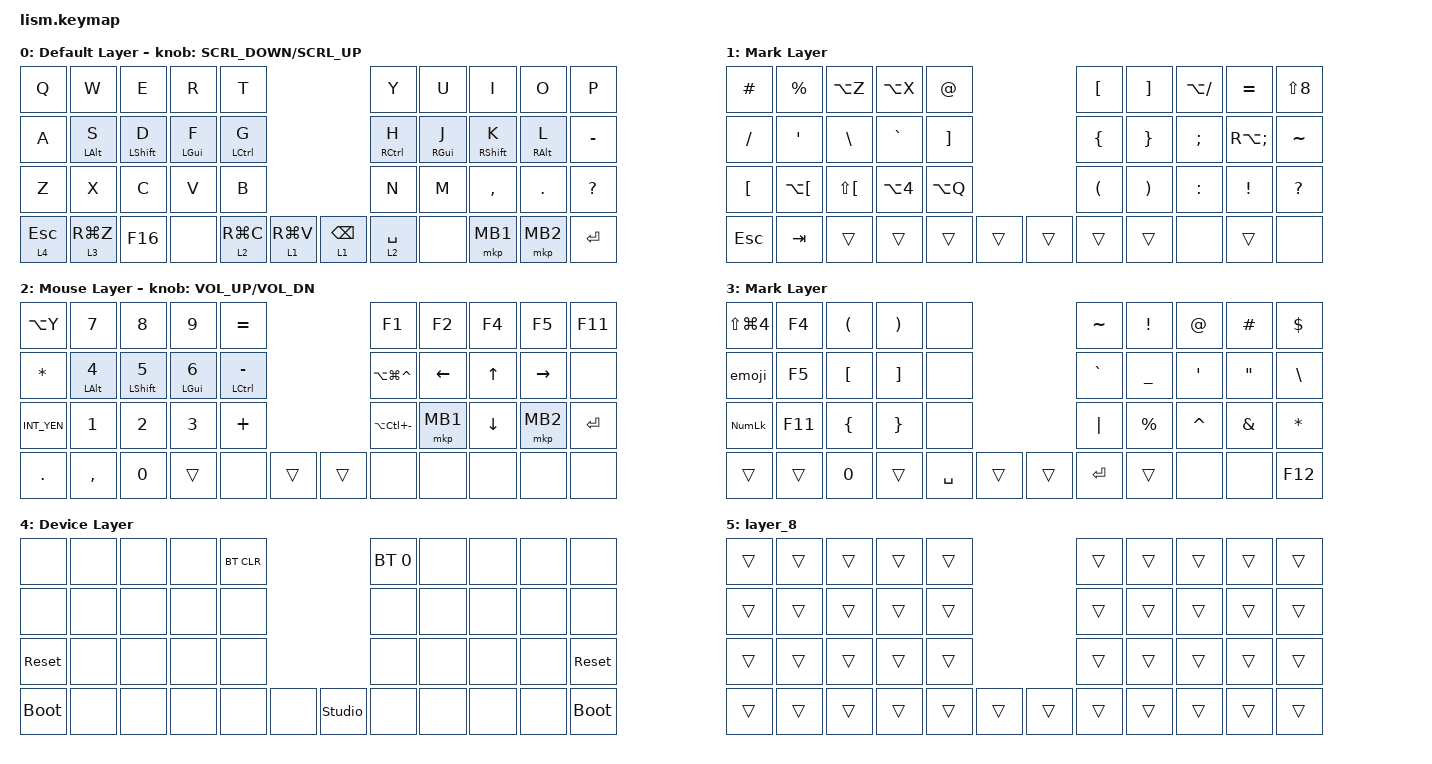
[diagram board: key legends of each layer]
#define ZMK_POINTING_DEFAULT_SCRL_VAL 200

#include <dt-bindings/zmk/mouse.h>
#include <behaviors.dtsi>
#include <dt-bindings/zmk/bt.h>
#include <dt-bindings/zmk/keys.h>
#include <dt-bindings/zmk/pointing.h>

&mt {
    tapping-term-ms = <300>;
    flavor = "balanced";
};

&lt { quick-tap-ms = <300>; };

/ {
    macros {
        emoji: emoji_macro {
            compatible = "zmk,behavior-macro";
            label = "EMOJI";
            #binding-cells = <0>;
            bindings =
                <&macro_press>,
                <&kp CAPSLOCK>,
                <&macro_tap>,
                <&kp E>,
                <&macro_release>,
                <&kp CAPSLOCK>;
        };
    };

    behaviors {
        encoder_msc: sensor_rotate_msc {
            compatible = "zmk,behavior-sensor-rotate-var";
            #sensor-binding-cells = <2>;
            bindings = <&msc>, <&msc>;

            tap-ms = <20>;
        };

        encoder_kp: sensor_rotate_kp {
            compatible = "zmk,behavior-sensor-rotate-var";
            #sensor-binding-cells = <2>;
            bindings = <&kp>, <&kp>;
        };
    };

    keymap {
        compatible = "zmk,keymap";

        default_layer {
            display-name = "Default Layer";
            bindings = <
&kp Q      &kp W        &kp E         &kp R       &kp T                                        &kp Y        &kp U       &kp I         &kp O       &kp P
&kp A      &mt LALT S   &mt LSHIFT D  &mt LGUI F  &mt LCTRL G                                  &mt RCTRL H  &mt RGUI J  &mt RSHIFT K  &mt RALT L  &kp MINUS
&kp Z      &kp X        &kp C         &kp V       &kp B                                        &kp N        &kp M       &kp COMMA     &kp DOT     &kp QUESTION
&lt 4 ESC  &lt 3 RG(Z)  &kp F16       &none       &lt 2 RG(C)  &lt 1 RG(V)    &lt 1 BACKSPACE  &lt 2 SPACE  &none       &mkp MB1      &mkp MB2    &kp ENTER
            >;

            sensor-bindings = <&encoder_msc SCRL_DOWN SCRL_UP>;
        };

        layer_1 {
            display-name = "Mark Layer";
            bindings = <
&kp HASH          &kp PERCENT           &kp LA(Z)             &kp LA(X)         &kp AT                               &kp LEFT_BRACKET  &kp RIGHT_BRACKET  &kp LA(SLASH)  &kp EQUAL        &kp LS(N8)
&kp SLASH         &kp SINGLE_QUOTE      &kp BACKSLASH         &kp GRAVE         &kp RIGHT_BRACKET                    &kp LEFT_BRACE    &kp RIGHT_BRACE    &kp SEMI       &kp RA(SEMI)     &kp TILDE
&kp LEFT_BRACKET  &kp LA(LEFT_BRACKET)  &kp LS(LEFT_BRACKET)  &kp LA(NUMBER_4)  &kp LA(Q)                            &kp LPAR          &kp RPAR           &kp COLON      &kp EXCLAMATION  &kp QUESTION
&kp ESC           &kp TAB               &trans                &trans            &trans             &trans    &trans  &trans            &trans             &none          &trans           &none
            >;
        };

        layer_2 {
            display-name = "Mouse Layer";
            bindings = <
&kp LA(Y)     &kp NUMBER_7       &kp NUMBER_8         &kp NUMBER_9       &kp EQUAL                          &kp F1             &kp F2    &kp F4    &kp F5     &kp F11
&kp ASTERISK  &mt LALT NUMBER_4  &mt LSHIFT NUMBER_5  &mt LGUI NUMBER_6  &mt LCTRL MINUS                    &kp LA(LG(CARET))  &kp LEFT  &kp UP    &kp RIGHT  &none
&kp INT_YEN   &kp NUMBER_1       &kp NUMBER_2         &kp NUMBER_3       &kp PLUS                           &kp LA(LC(MINUS))  &mkp MB1  &kp DOWN  &mkp MB2   &kp ENTER
&kp DOT       &kp COMMA          &kp NUMBER_0         &trans             &none            &trans    &trans  &none              &none     &none     &none      &none
            >;

            sensor-bindings = <&encoder_kp C_VOL_UP C_VOL_DN>;
        };

        layer_3 {
            display-name = "Mark Layer";
            bindings = <
&kp LS(LG(N4))  &kp F4   &kp LEFT_PARENTHESIS  &kp RIGHT_PARENTHESIS  &none                        &kp TILDE  &kp EXCLAMATION  &kp AT_SIGN       &kp HASH           &kp DOLLAR
&emoji          &kp F5   &kp LEFT_BRACKET      &kp RIGHT_BRACKET      &none                        &kp GRAVE  &kp UNDER        &kp SINGLE_QUOTE  &kp DOUBLE_QUOTES  &kp BACKSLASH
&kp KP_NUMLOCK  &kp F11  &kp LEFT_BRACE        &kp RIGHT_BRACE        &none                        &kp PIPE   &kp PERCENT      &kp CARET         &kp AMPERSAND      &kp ASTERISK
&trans          &trans   &kp NUMBER_0          &trans                 &kp SPACE  &trans    &trans  &kp ENTER  &trans           &none             &none              &kp F12
            >;
        };

        layer_4 {
            display-name = "Device Layer";
            bindings = <
&none        &none           &none  &none  &bt BT_CLR                           &bt BT_SEL 0  &none         &none         &none         &none
&none        &none           &none  &none  &none                                &none         &none         &none         &none         &none
&sys_reset   &none           &none  &none  &none                                &none         &none         &none         &none         &sys_reset
&bootloader  &none           &none  &none  &none       &none    &studio_unlock  &none         &none         &none         &none         &bootloader
            >;
        };

        layer_5 {
            status = "reserved";
            display-name = "Brank Layer";
            bindings = <
&trans  &trans  &trans  &trans  &trans                    &trans  &trans  &trans  &trans  &trans
&trans  &trans  &trans  &trans  &trans                    &trans  &trans  &trans  &trans  &trans
&trans  &trans  &trans  &trans  &trans                    &trans  &trans  &trans  &trans  &trans
&trans  &trans  &trans  &trans  &trans  &trans    &trans  &trans  &trans  &trans  &trans  &trans
            >;
        };

        layer_6 {
            status = "reserved";
            display-name = "Brank Layer";
            bindings = <
&trans  &trans  &trans  &trans  &trans                    &trans  &trans  &trans  &trans  &trans
&trans  &trans  &trans  &trans  &trans                    &trans  &trans  &trans  &trans  &trans
&trans  &trans  &trans  &trans  &trans                    &trans  &trans  &trans  &trans  &trans
&trans  &trans  &trans  &trans  &trans  &trans    &trans  &trans  &trans  &trans  &trans  &trans
            >;
        };

        layer_7 {
            status = "reserved";
            display-name = "Brank Layer";
            bindings = <
&trans  &trans  &trans  &trans  &trans                    &trans  &trans  &trans  &trans  &trans
&trans  &trans  &trans  &trans  &trans                    &trans  &trans  &trans  &trans  &trans
&trans  &trans  &trans  &trans  &trans                    &trans  &trans  &trans  &trans  &trans
&trans  &trans  &trans  &trans  &trans  &trans    &trans  &trans  &trans  &trans  &trans  &trans
            >;
        };

        layer_8 {
            bindings = <
&trans  &trans  &trans  &trans  &trans                    &trans  &trans  &trans  &trans  &trans
&trans  &trans  &trans  &trans  &trans                    &trans  &trans  &trans  &trans  &trans
&trans  &trans  &trans  &trans  &trans                    &trans  &trans  &trans  &trans  &trans
&trans  &trans  &trans  &trans  &trans  &trans    &trans  &trans  &trans  &trans  &trans  &trans
            >;
        };
    };
};
